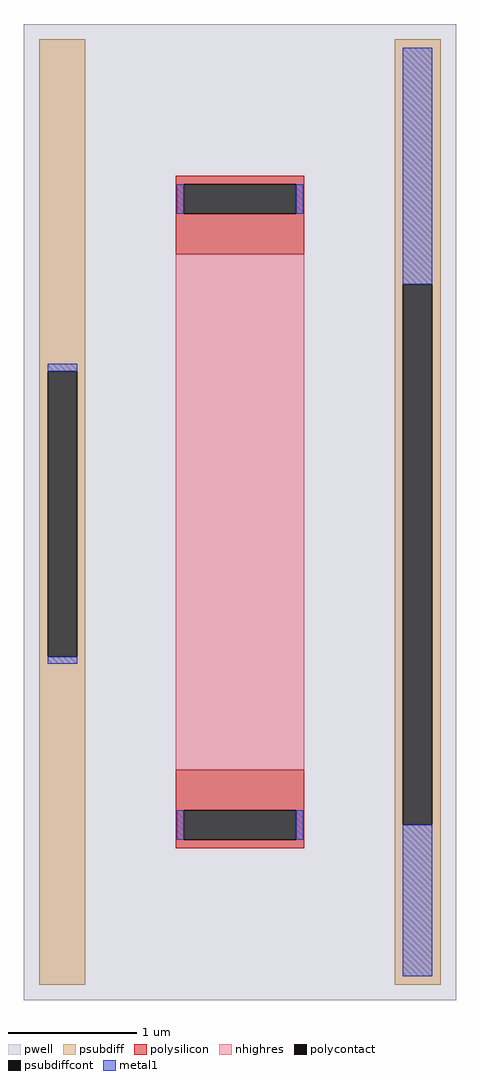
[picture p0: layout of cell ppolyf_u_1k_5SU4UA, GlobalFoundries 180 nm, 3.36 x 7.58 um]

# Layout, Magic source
magic
tech gf180mcuD
magscale 1 10
<< pwell >>
rect -336 -758 336 758
<< psubdiff >>
rect -312 219 -240 734
rect -312 -225 -299 219
rect -253 -225 -240 219
rect -312 -734 -240 -225
rect 240 354 312 734
rect 240 -486 253 354
rect 299 -486 312 354
rect 240 -734 312 -486
<< psubdiffcont >>
rect -299 -225 -253 219
rect 253 -486 299 354
<< polysilicon >>
rect -100 509 100 522
rect -100 463 -87 509
rect 87 463 100 509
rect -100 400 100 463
rect -100 -463 100 -400
rect -100 -509 -87 -463
rect 87 -509 100 -463
rect -100 -522 100 -509
<< polycontact >>
rect -87 463 87 509
rect -87 -509 87 -463
<< nhighres >>
rect -100 -400 100 400
<< metal1 >>
rect -98 463 -87 509
rect 87 463 98 509
rect 253 354 299 721
rect -299 219 -253 230
rect -299 -236 -253 -225
rect -98 -509 -87 -463
rect 87 -509 98 -463
rect 253 -721 299 -486
<< properties >>
string FIXED_BBOX -276 -698 276 698
string gencell ppolyf_u_1k
string library gf180mcu
string parameters w 1.0 l 4.0 m 1 nx 1 wmin 1.000 lmin 1.000 class resistor rho 1000 val 4.122k dummy 0 dw 0.0296 term 0.0 sterm 0.0 caplen 0.4 snake 0 glc 1 grc 1 gtc 0 gbc 0 roverlap 0 endcov 100 full_metal 1 guard 1 guard_type pwell compatible {ppolyf_u_1k ppolyf_u_1k_6p0}
<< end >>
